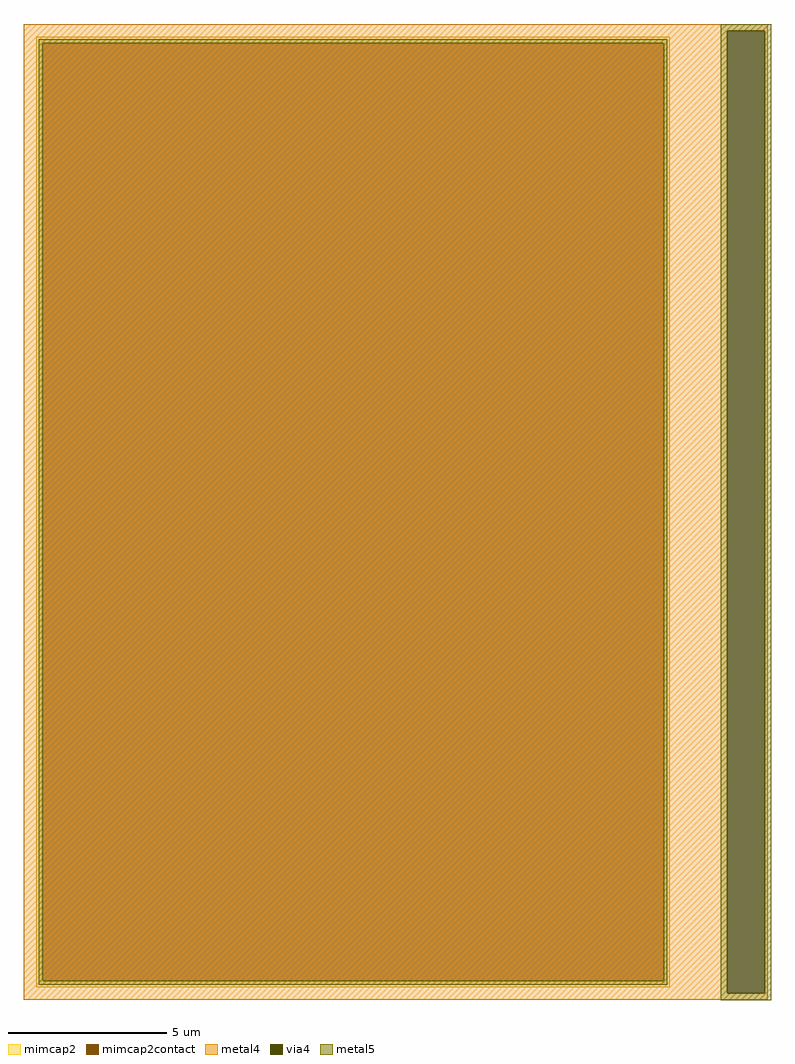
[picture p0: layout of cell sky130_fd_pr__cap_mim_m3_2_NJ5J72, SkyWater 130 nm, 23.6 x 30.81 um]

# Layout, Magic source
magic
tech sky130A
magscale 1 2
<< metal4 >>
rect -2349 3039 2349 3080
rect -2349 -3039 2093 3039
rect 2329 -3039 2349 3039
rect -2349 -3080 2349 -3039
<< via4 >>
rect 2093 -3039 2329 3039
<< mimcap2 >>
rect -2269 2960 1731 3000
rect -2269 -2960 -2229 2960
rect 1691 -2960 1731 2960
rect -2269 -3000 1731 -2960
<< mimcap2contact >>
rect -2229 -2960 1691 2960
<< metal5 >>
rect 2051 3039 2371 3081
rect -2253 2960 1715 2984
rect -2253 -2960 -2229 2960
rect 1691 -2960 1715 2960
rect -2253 -2984 1715 -2960
rect 2051 -3039 2093 3039
rect 2329 -3039 2371 3039
rect 2051 -3081 2371 -3039
<< properties >>
string FIXED_BBOX -2349 -3080 1811 3080
string gencell sky130_fd_pr__cap_mim_m3_2
string library sky130
string parameters w 20 l 30 val 1.219k carea 2.00 cperi 0.19 nx 1 ny 1 dummy 0 square 0 lmin 2.00 wmin 2.00 lmax 30.0 wmax 30.0 dc 0 bconnect 1 tconnect 1 ccov 100
<< end >>
